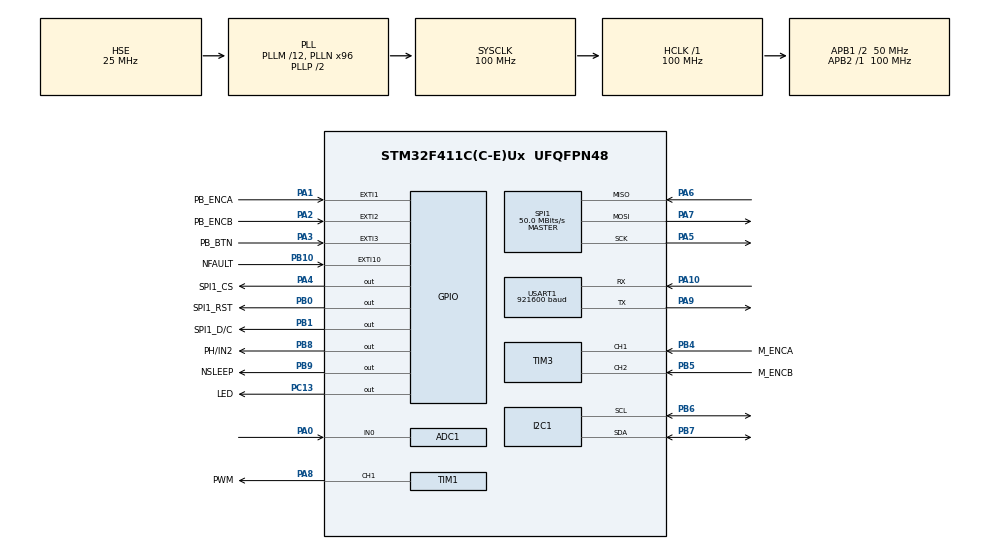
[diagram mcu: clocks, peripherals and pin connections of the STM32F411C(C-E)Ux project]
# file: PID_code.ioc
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ADC1.Channel-0\#ChannelRegularConversion=ADC_CHANNEL_0
ADC1.NbrOfConversionFlag=1
ADC1.Rank-0\#ChannelRegularConversion=1
ADC1.SamplingTime-0\#ChannelRegularConversion=ADC_SAMPLETIME_84CYCLES
ADC1.master=1
Mcu.Family=STM32F4
Mcu.Name=STM32F411C(C-E)Ux
Mcu.Package=UFQFPN48
NVIC.EXTI1_IRQn=true\:0\:0\:false\:false\:true\:true\:true\:true
NVIC.EXTI2_IRQn=true\:0\:0\:false\:false\:true\:true\:true\:true
NVIC.EXTI3_IRQn=true\:0\:0\:false\:false\:true\:true\:true\:true
NVIC.PriorityGroup=NVIC_PRIORITYGROUP_4
PA0-WKUP.Signal=ADCx_IN0
PA1.GPIO_Label=PB_ENCA
PA1.GPIO_ModeDefaultEXTI=GPIO_MODE_IT_RISING_FALLING
PA1.GPIO_PuPd=GPIO_PULLUP
PA1.Signal=GPXTI1
PA10.Mode=Asynchronous
PA10.Signal=USART1_RX
PA13.Mode=Serial_Wire
PA13.Signal=SYS_JTMS-SWDIO
PA14.Mode=Serial_Wire
PA14.Signal=SYS_JTCK-SWCLK
PA2.GPIO_Label=PB_ENCB
PA2.GPIO_ModeDefaultEXTI=GPIO_MODE_IT_RISING_FALLING
PA2.GPIO_PuPd=GPIO_PULLUP
PA2.Signal=GPXTI2
PA3.GPIO_Label=PB_BTN
PA3.GPIO_ModeDefaultEXTI=GPIO_MODE_IT_FALLING
PA3.GPIO_PuPd=GPIO_PULLUP
PA3.Signal=GPXTI3
PA4.GPIO_Label=SPI1_CS
PA4.PinState=GPIO_PIN_SET
PA4.Signal=GPIO_Output
PA5.Mode=Full_Duplex_Master
PA5.Signal=SPI1_SCK
PA6.Mode=Full_Duplex_Master
PA6.Signal=SPI1_MISO
PA7.Mode=Full_Duplex_Master
PA7.Signal=SPI1_MOSI
PA8.GPIO_Label=PWM
PA8.GPIO_Speed=GPIO_SPEED_FREQ_VERY_HIGH
PA8.Signal=S_TIM1_CH1
PA9.Mode=Asynchronous
PA9.Signal=USART1_TX
PB0.GPIO_Label=SPI1_RST
PB0.PinState=GPIO_PIN_SET
PB0.Signal=GPIO_Output
PB1.GPIO_Label=SPI1_D/C
PB1.Signal=GPIO_Output
PB10.GPIO_Label=NFAULT
PB10.GPIO_PuPd=GPIO_PULLUP
PB10.Signal=GPXTI10
PB4.GPIO_Label=M_ENCA
PB4.GPIO_PuPd=GPIO_PULLUP
PB4.Signal=S_TIM3_CH1
PB5.GPIO_Label=M_ENCB
PB5.GPIO_PuPd=GPIO_PULLUP
PB5.Signal=S_TIM3_CH2
PB6.Mode=I2C
PB6.Signal=I2C1_SCL
PB7.Mode=I2C
PB7.Signal=I2C1_SDA
PB8.GPIO_Label=PH/IN2
PB8.Signal=GPIO_Output
PB9.GPIO_Label=NSLEEP
PB9.Signal=GPIO_Output
PC13-ANTI_TAMP.GPIO_Label=LED
PC13-ANTI_TAMP.GPIO_ModeDefaultOutputPP=GPIO_MODE_OUTPUT_OD
PC13-ANTI_TAMP.GPIO_PuPd=GPIO_NOPULL
PC13-ANTI_TAMP.PinState=GPIO_PIN_SET
PC13-ANTI_TAMP.Signal=GPIO_Output
PH0\ -\ OSC_IN.Mode=HSE-External-Oscillator
PH0\ -\ OSC_IN.Signal=RCC_OSC_IN
PH1\ -\ OSC_OUT.Mode=HSE-External-Oscillator
PH1\ -\ OSC_OUT.Signal=RCC_OSC_OUT
ProjectManager.HeapSize=0x200
ProjectManager.StackSize=0x400
ProjectManager.TargetToolchain=STM32CubeIDE
RCC.48MHZClocksFreq_Value=50000000
RCC.AHBFreq_Value=100000000
RCC.APB1CLKDivider=RCC_HCLK_DIV2
RCC.APB1Freq_Value=50000000
RCC.APB1TimFreq_Value=100000000
RCC.APB2Freq_Value=100000000
RCC.APB2TimFreq_Value=100000000
RCC.CortexFreq_Value=100000000
RCC.HCLKFreq_Value=100000000
RCC.HSE_VALUE=25000000
RCC.HSI_VALUE=16000000
RCC.LSE_VALUE=32768
RCC.PLLM=12
RCC.PLLN=96
RCC.PLLSourceVirtual=RCC_PLLSOURCE_HSE
RCC.SYSCLKFreq_VALUE=100000000
RCC.SYSCLKSource=RCC_SYSCLKSOURCE_PLLCLK
RCC.VCOOutputFreq_Value=200000000
SH.ADCx_IN0.0=ADC1_IN0,IN0
SH.S_TIM1_CH1.0=TIM1_CH1,PWM Generation1 CH1
SH.S_TIM3_CH1.0=TIM3_CH1,Encoder_Interface
SH.S_TIM3_CH2.0=TIM3_CH2,Encoder_Interface
SPI1.CalculateBaudRate=50.0 MBits/s
SPI1.Direction=SPI_DIRECTION_2LINES
SPI1.Mode=SPI_MODE_MASTER
SPI1.VirtualType=VM_MASTER
TIM1.Channel-PWM\ Generation1\ CH1=TIM_CHANNEL_1
TIM1.Period=4199
TIM3.EncoderMode=TIM_ENCODERMODE_TI12
USART1.BaudRate=921600
USART1.VirtualMode=VM_ASYNC
VP_TIM1_VS_ClockSourceINT.Mode=Internal
board=custom

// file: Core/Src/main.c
/* USER CODE BEGIN Header */
/**
  ******************************************************************************
  * @file           : main.c
  * @brief          : Main program body
  ******************************************************************************
  * @attention
  *
  * Copyright (c) 2026 STMicroelectronics.
  * All rights reserved.
  *
  * This software is licensed under terms that can be found in the LICENSE file
  * in the root directory of this software component.
  * If no LICENSE file comes with this software, it is provided AS-IS.
  *
  ******************************************************************************
  */
/* USER CODE END Header */
#include "main.h"

/* USER CODE BEGIN Includes */
#include <stdio.h>
#include <stdlib.h>
#include "ssd1306.h"
#include "ssd1306_conf.h"
#include "ssd1306_fonts.h"

/* USER CODE END Includes */

/* USER CODE BEGIN PD */
// TODO: replace with your actual motor's specs
#define ENCODER_CPR          16      // counts per revolution of the motor shaft (pre-gearbox), from encoder datasheet
#define GEAR_RATIO            43.8f  // e.g. FIT0186's ratio — set to 1.0f if using the Pololu 37D instead
#define ENCODER_SAMPLE_MS    500     // matches your existing display refresh interval

/* USER CODE END PD */

ADC_HandleTypeDef hadc1;

I2C_HandleTypeDef hi2c1;

SPI_HandleTypeDef hspi1;

TIM_HandleTypeDef htim1;
TIM_HandleTypeDef htim3;

UART_HandleTypeDef huart1;

/* USER CODE BEGIN PV */
volatile int32_t encoder_count = 0;
volatile uint32_t button_press_count = 0;
volatile uint8_t last_AB_state = 0;
volatile float   motor_rpm = 0.0f;

/* USER CODE END PV */

void SystemClock_Config(void);
static void MX_GPIO_Init(void);
static void MX_USART1_UART_Init(void);
static void MX_I2C1_Init(void);
static void MX_SPI1_Init(void);
static void MX_ADC1_Init(void);
static void MX_TIM1_Init(void);
static void MX_TIM3_Init(void);

/* USER CODE BEGIN 0 */

// Send printf to uart1
int _write(int fd, char* ptr, int len) {
  HAL_StatusTypeDef hstatus;

  if (fd == 1 || fd == 2) {
    hstatus = HAL_UART_Transmit(&huart1, (uint8_t *) ptr, len, HAL_MAX_DELAY);
    if (hstatus == HAL_OK)
      return len;
    else
      return -1;
  }
  return -1;
}

/* USER CODE END 0 */

int main(void)
{

  /* MCU Configuration--------------------------------------------------------*/

  /* Reset of all peripherals, Initializes the Flash interface and the Systick. */
  HAL_Init();

  /* Configure the system clock */
  SystemClock_Config();

  /* Initialize all configured peripherals */
  MX_GPIO_Init();
  MX_USART1_UART_Init();
  MX_I2C1_Init();
  MX_SPI1_Init();
  MX_ADC1_Init();
  MX_TIM1_Init();
  MX_TIM3_Init();
  /* USER CODE BEGIN 2 */
  ssd1306_Init();
  ssd1306_Fill(Black);
  ssd1306_UpdateScreen();

  HAL_TIM_PWM_Start(&htim1, TIM_CHANNEL_1);
  HAL_TIM_Encoder_Start(&htim3, TIM_CHANNEL_ALL);

  HAL_GPIO_WritePin(PH_IN2_GPIO_Port, PH_IN2_Pin, GPIO_PIN_RESET); // forward — confirm against DRV8874 PH/EN truth table
  HAL_GPIO_WritePin(NSLEEP_GPIO_Port, NSLEEP_Pin, GPIO_PIN_SET);   // wake the driver
  /* USER CODE END 2 */

  /* Infinite loop */
  /* USER CODE BEGIN WHILE */

  uint32_t now = 0, next_blink = 500;
  uint32_t count = 0;
  char buf[16];
  int16_t last_tim3_cnt = 0;   // signed: TIM3 counter wraps as a 16-bit value in encoder mode

  #define MOTOR_MAX_RPM_NOLOAD  275   // TODO: replace with your motor's actual no-load RPM at 12V from its datasheet
  #define PWM_PERIOD             4199 // must match TIM1 ARR set in CubeMX

  while (1)
  {

	  now = uwTick;
	  int32_t current_count = encoder_count;
	  uint32_t presses = button_press_count;

	  // --- open-loop speed command from knob ---
	  int32_t target_rpm = current_count;              // already clamped 0..MOTOR_MAX_RPM
	  uint32_t duty = (uint32_t)(((float)target_rpm / (float)MOTOR_MAX_RPM_NOLOAD) * (float)PWM_PERIOD);
	  if (duty > PWM_PERIOD) duty = PWM_PERIOD;
	  __HAL_TIM_SET_COMPARE(&htim1, TIM_CHANNEL_1, duty);

	  if (now >= next_blink)
	  {
		  HAL_GPIO_TogglePin(LED_GPIO_Port, LED_Pin);
		  next_blink = now + 500;

		  // --- measured RPM from TIM3 encoder ---
		  int16_t tim3_cnt = (int16_t)__HAL_TIM_GET_COUNTER(&htim3);
		  int16_t delta_counts = tim3_cnt - last_tim3_cnt;   // relies on int16_t wraparound behaving correctly across 0/65535
		  last_tim3_cnt = tim3_cnt;

		  float counts_per_sec = (float)delta_counts * (1000.0f / (float)ENCODER_SAMPLE_MS);
		  float shaft_rps = counts_per_sec / ((float)ENCODER_CPR * 4.0f);  // x4 for TI12 quadrature decoding
		  motor_rpm = (shaft_rps * 60.0f) / GEAR_RATIO;

		  count = count + 1;
		  sprintf(buf, "%-4lu", current_count);
		  ssd1306_SetCursor(0, 0);
		  ssd1306_WriteString(buf, Font_6x8, White);

		  sprintf(buf, "%-4lu", presses);
		  ssd1306_SetCursor(0, 10);
		  ssd1306_WriteString(buf, Font_6x8, White);

		  sprintf(buf, "%d RPM", (int)motor_rpm);
		  ssd1306_SetCursor(0, 20);
		  ssd1306_WriteString(buf, Font_6x8, White);

		  ssd1306_UpdateScreen();
	  }

    /* USER CODE END WHILE */

  }
}

void SystemClock_Config(void)
{
  RCC_OscInitTypeDef RCC_OscInitStruct = {0};
  RCC_ClkInitTypeDef RCC_ClkInitStruct = {0};

  /** Configure the main internal regulator output voltage
  */
  __HAL_RCC_PWR_CLK_ENABLE();
  __HAL_PWR_VOLTAGESCALING_CONFIG(PWR_REGULATOR_VOLTAGE_SCALE1);

  /** Initializes the RCC Oscillators according to the specified parameters
  * in the RCC_OscInitTypeDef structure.
  */
  RCC_OscInitStruct.OscillatorType = RCC_OSCILLATORTYPE_HSE;
  RCC_OscInitStruct.HSEState = RCC_HSE_ON;
  RCC_OscInitStruct.PLL.PLLState = RCC_PLL_ON;
  RCC_OscInitStruct.PLL.PLLSource = RCC_PLLSOURCE_HSE;
  RCC_OscInitStruct.PLL.PLLM = 12;
  RCC_OscInitStruct.PLL.PLLN = 96;
  RCC_OscInitStruct.PLL.PLLP = RCC_PLLP_DIV2;
  RCC_OscInitStruct.PLL.PLLQ = 4;
  if (HAL_RCC_OscConfig(&RCC_OscInitStruct) != HAL_OK)
  {
    Error_Handler();
  }

  /** Initializes the CPU, AHB and APB buses clocks
  */
  RCC_ClkInitStruct.ClockType = RCC_CLOCKTYPE_HCLK|RCC_CLOCKTYPE_SYSCLK
                              |RCC_CLOCKTYPE_PCLK1|RCC_CLOCKTYPE_PCLK2;
  RCC_ClkInitStruct.SYSCLKSource = RCC_SYSCLKSOURCE_PLLCLK;
  RCC_ClkInitStruct.AHBCLKDivider = RCC_SYSCLK_DIV1;
  RCC_ClkInitStruct.APB1CLKDivider = RCC_HCLK_DIV2;
  RCC_ClkInitStruct.APB2CLKDivider = RCC_HCLK_DIV1;

  if (HAL_RCC_ClockConfig(&RCC_ClkInitStruct, FLASH_LATENCY_3) != HAL_OK)
  {
    Error_Handler();
  }
}

static void MX_ADC1_Init(void)
{

  ADC_ChannelConfTypeDef sConfig = {0};

  /** Configure the global features of the ADC (Clock, Resolution, Data Alignment and number of conversion)
  */
  hadc1.Instance = ADC1;
  hadc1.Init.ClockPrescaler = ADC_CLOCK_SYNC_PCLK_DIV4;
  hadc1.Init.Resolution = ADC_RESOLUTION_12B;
  hadc1.Init.ScanConvMode = DISABLE;
  hadc1.Init.ContinuousConvMode = DISABLE;
  hadc1.Init.DiscontinuousConvMode = DISABLE;
  hadc1.Init.ExternalTrigConvEdge = ADC_EXTERNALTRIGCONVEDGE_NONE;
  hadc1.Init.ExternalTrigConv = ADC_SOFTWARE_START;
  hadc1.Init.DataAlign = ADC_DATAALIGN_RIGHT;
  hadc1.Init.NbrOfConversion = 1;
  hadc1.Init.DMAContinuousRequests = DISABLE;
  hadc1.Init.EOCSelection = ADC_EOC_SINGLE_CONV;
  if (HAL_ADC_Init(&hadc1) != HAL_OK)
  {
    Error_Handler();
  }

  /** Configure for the selected ADC regular channel its corresponding rank in the sequencer and its sample time.
  */
  sConfig.Channel = ADC_CHANNEL_0;
  sConfig.Rank = 1;
  sConfig.SamplingTime = ADC_SAMPLETIME_84CYCLES;
  if (HAL_ADC_ConfigChannel(&hadc1, &sConfig) != HAL_OK)
  {
    Error_Handler();
  }

}

static void MX_I2C1_Init(void)
{

  hi2c1.Instance = I2C1;
  hi2c1.Init.ClockSpeed = 100000;
  hi2c1.Init.DutyCycle = I2C_DUTYCYCLE_2;
  hi2c1.Init.OwnAddress1 = 0;
  hi2c1.Init.AddressingMode = I2C_ADDRESSINGMODE_7BIT;
  hi2c1.Init.DualAddressMode = I2C_DUALADDRESS_DISABLE;
  hi2c1.Init.OwnAddress2 = 0;
  hi2c1.Init.GeneralCallMode = I2C_GENERALCALL_DISABLE;
  hi2c1.Init.NoStretchMode = I2C_NOSTRETCH_DISABLE;
  if (HAL_I2C_Init(&hi2c1) != HAL_OK)
  {
    Error_Handler();
  }

}

static void MX_SPI1_Init(void)
{

  /* SPI1 parameter configuration*/
  hspi1.Instance = SPI1;
  hspi1.Init.Mode = SPI_MODE_MASTER;
  hspi1.Init.Direction = SPI_DIRECTION_2LINES;
  hspi1.Init.DataSize = SPI_DATASIZE_8BIT;
  hspi1.Init.CLKPolarity = SPI_POLARITY_LOW;
  hspi1.Init.CLKPhase = SPI_PHASE_1EDGE;
  hspi1.Init.NSS = SPI_NSS_SOFT;
  hspi1.Init.BaudRatePrescaler = SPI_BAUDRATEPRESCALER_2;
  hspi1.Init.FirstBit = SPI_FIRSTBIT_MSB;
  hspi1.Init.TIMode = SPI_TIMODE_DISABLE;
  hspi1.Init.CRCCalculation = SPI_CRCCALCULATION_DISABLE;
  hspi1.Init.CRCPolynomial = 10;
  if (HAL_SPI_Init(&hspi1) != HAL_OK)
  {
    Error_Handler();
  }

}

static void MX_TIM1_Init(void)
{

  TIM_ClockConfigTypeDef sClockSourceConfig = {0};
  TIM_MasterConfigTypeDef sMasterConfig = {0};
  TIM_OC_InitTypeDef sConfigOC = {0};
  TIM_BreakDeadTimeConfigTypeDef sBreakDeadTimeConfig = {0};

  htim1.Instance = TIM1;
  htim1.Init.Prescaler = 0;
  htim1.Init.CounterMode = TIM_COUNTERMODE_UP;
  htim1.Init.Period = 4199;
  htim1.Init.ClockDivision = TIM_CLOCKDIVISION_DIV1;
  htim1.Init.RepetitionCounter = 0;
  htim1.Init.AutoReloadPreload = TIM_AUTORELOAD_PRELOAD_DISABLE;
  if (HAL_TIM_Base_Init(&htim1) != HAL_OK)
  {
    Error_Handler();
  }
  sClockSourceConfig.ClockSource = TIM_CLOCKSOURCE_INTERNAL;
  if (HAL_TIM_ConfigClockSource(&htim1, &sClockSourceConfig) != HAL_OK)
  {
    Error_Handler();
  }
  if (HAL_TIM_PWM_Init(&htim1) != HAL_OK)
  {
    Error_Handler();
  }
  sMasterConfig.MasterOutputTrigger = TIM_TRGO_RESET;
  sMasterConfig.MasterSlaveMode = TIM_MASTERSLAVEMODE_DISABLE;
  if (HAL_TIMEx_MasterConfigSynchronization(&htim1, &sMasterConfig) != HAL_OK)
  {
    Error_Handler();
  }
  sConfigOC.OCMode = TIM_OCMODE_PWM1;
  sConfigOC.Pulse = 0;
  sConfigOC.OCPolarity = TIM_OCPOLARITY_HIGH;
  sConfigOC.OCNPolarity = TIM_OCNPOLARITY_HIGH;
  sConfigOC.OCFastMode = TIM_OCFAST_DISABLE;
  sConfigOC.OCIdleState = TIM_OCIDLESTATE_RESET;
  sConfigOC.OCNIdleState = TIM_OCNIDLESTATE_RESET;
  if (HAL_TIM_PWM_ConfigChannel(&htim1, &sConfigOC, TIM_CHANNEL_1) != HAL_OK)
  {
    Error_Handler();
  }
  sBreakDeadTimeConfig.OffStateRunMode = TIM_OSSR_DISABLE;
  sBreakDeadTimeConfig.OffStateIDLEMode = TIM_OSSI_DISABLE;
  sBreakDeadTimeConfig.LockLevel = TIM_LOCKLEVEL_OFF;
  sBreakDeadTimeConfig.DeadTime = 0;
  sBreakDeadTimeConfig.BreakState = TIM_BREAK_DISABLE;
  sBreakDeadTimeConfig.BreakPolarity = TIM_BREAKPOLARITY_HIGH;
  sBreakDeadTimeConfig.AutomaticOutput = TIM_AUTOMATICOUTPUT_DISABLE;
  if (HAL_TIMEx_ConfigBreakDeadTime(&htim1, &sBreakDeadTimeConfig) != HAL_OK)
  {
    Error_Handler();
  }
  HAL_TIM_MspPostInit(&htim1);

}

static void MX_TIM3_Init(void)
{

  TIM_Encoder_InitTypeDef sConfig = {0};
  TIM_MasterConfigTypeDef sMasterConfig = {0};

  htim3.Instance = TIM3;
  htim3.Init.Prescaler = 0;
  htim3.Init.CounterMode = TIM_COUNTERMODE_UP;
  htim3.Init.Period = 65535;
  htim3.Init.ClockDivision = TIM_CLOCKDIVISION_DIV1;
  htim3.Init.AutoReloadPreload = TIM_AUTORELOAD_PRELOAD_DISABLE;
  sConfig.EncoderMode = TIM_ENCODERMODE_TI12;
  sConfig.IC1Polarity = TIM_ICPOLARITY_RISING;
  sConfig.IC1Selection = TIM_ICSELECTION_DIRECTTI;
  sConfig.IC1Prescaler = TIM_ICPSC_DIV1;
  sConfig.IC1Filter = 0;
  sConfig.IC2Polarity = TIM_ICPOLARITY_RISING;
  sConfig.IC2Selection = TIM_ICSELECTION_DIRECTTI;
  sConfig.IC2Prescaler = TIM_ICPSC_DIV1;
  sConfig.IC2Filter = 0;
  if (HAL_TIM_Encoder_Init(&htim3, &sConfig) != HAL_OK)
  {
    Error_Handler();
  }
  sMasterConfig.MasterOutputTrigger = TIM_TRGO_RESET;
  sMasterConfig.MasterSlaveMode = TIM_MASTERSLAVEMODE_DISABLE;
  if (HAL_TIMEx_MasterConfigSynchronization(&htim3, &sMasterConfig) != HAL_OK)
  {
    Error_Handler();
  }

}

static void MX_USART1_UART_Init(void)
{

  huart1.Instance = USART1;
  huart1.Init.BaudRate = 921600;
  huart1.Init.WordLength = UART_WORDLENGTH_8B;
  huart1.Init.StopBits = UART_STOPBITS_1;
  huart1.Init.Parity = UART_PARITY_NONE;
  huart1.Init.Mode = UART_MODE_TX_RX;
  huart1.Init.HwFlowCtl = UART_HWCONTROL_NONE;
  huart1.Init.OverSampling = UART_OVERSAMPLING_16;
  if (HAL_UART_Init(&huart1) != HAL_OK)
  {
    Error_Handler();
  }

}

static void MX_GPIO_Init(void)
{
  GPIO_InitTypeDef GPIO_InitStruct = {0};

  /* GPIO Ports Clock Enable */
  __HAL_RCC_GPIOC_CLK_ENABLE();
  __HAL_RCC_GPIOH_CLK_ENABLE();
  __HAL_RCC_GPIOA_CLK_ENABLE();
  __HAL_RCC_GPIOB_CLK_ENABLE();

  /*Configure GPIO pin Output Level */
  HAL_GPIO_WritePin(LED_GPIO_Port, LED_Pin, GPIO_PIN_SET);

  /*Configure GPIO pin Output Level */
  HAL_GPIO_WritePin(SPI1_CS_GPIO_Port, SPI1_CS_Pin, GPIO_PIN_SET);

  /*Configure GPIO pin Output Level */
  HAL_GPIO_WritePin(SPI1_RST_GPIO_Port, SPI1_RST_Pin, GPIO_PIN_SET);

  /*Configure GPIO pin Output Level */
  HAL_GPIO_WritePin(GPIOB, SPI1_D_C_Pin|PH_IN2_Pin|NSLEEP_Pin, GPIO_PIN_RESET);

  /*Configure GPIO pin : LED_Pin */
  GPIO_InitStruct.Pin = LED_Pin;
  GPIO_InitStruct.Mode = GPIO_MODE_OUTPUT_OD;
  GPIO_InitStruct.Pull = GPIO_NOPULL;
  GPIO_InitStruct.Speed = GPIO_SPEED_FREQ_LOW;
  HAL_GPIO_Init(LED_GPIO_Port, &GPIO_InitStruct);

  /*Configure GPIO pins : PB_ENCA_Pin PB_ENCB_Pin */
  GPIO_InitStruct.Pin = PB_ENCA_Pin|PB_ENCB_Pin;
  GPIO_InitStruct.Mode = GPIO_MODE_IT_RISING_FALLING;
  GPIO_InitStruct.Pull = GPIO_PULLUP;
  HAL_GPIO_Init(GPIOA, &GPIO_InitStruct);

  /*Configure GPIO pin : PB_BTN_Pin */
  GPIO_InitStruct.Pin = PB_BTN_Pin;
  GPIO_InitStruct.Mode = GPIO_MODE_IT_FALLING;
  GPIO_InitStruct.Pull = GPIO_PULLUP;
  HAL_GPIO_Init(PB_BTN_GPIO_Port, &GPIO_InitStruct);

  /*Configure GPIO pin : SPI1_CS_Pin */
  GPIO_InitStruct.Pin = SPI1_CS_Pin;
  GPIO_InitStruct.Mode = GPIO_MODE_OUTPUT_PP;
  GPIO_InitStruct.Pull = GPIO_NOPULL;
  GPIO_InitStruct.Speed = GPIO_SPEED_FREQ_LOW;
  HAL_GPIO_Init(SPI1_CS_GPIO_Port, &GPIO_InitStruct);

  /*Configure GPIO pins : SPI1_RST_Pin SPI1_D_C_Pin PH_IN2_Pin NSLEEP_Pin */
  GPIO_InitStruct.Pin = SPI1_RST_Pin|SPI1_D_C_Pin|PH_IN2_Pin|NSLEEP_Pin;
  GPIO_InitStruct.Mode = GPIO_MODE_OUTPUT_PP;
  GPIO_InitStruct.Pull = GPIO_NOPULL;
  GPIO_InitStruct.Speed = GPIO_SPEED_FREQ_LOW;
  HAL_GPIO_Init(GPIOB, &GPIO_InitStruct);

  /*Configure GPIO pin : NFAULT_Pin */
  GPIO_InitStruct.Pin = NFAULT_Pin;
  GPIO_InitStruct.Mode = GPIO_MODE_IT_RISING;
  GPIO_InitStruct.Pull = GPIO_PULLUP;
  HAL_GPIO_Init(NFAULT_GPIO_Port, &GPIO_InitStruct);

  /* EXTI interrupt init*/
  HAL_NVIC_SetPriority(EXTI1_IRQn, 0, 0);
  HAL_NVIC_EnableIRQ(EXTI1_IRQn);

  HAL_NVIC_SetPriority(EXTI2_IRQn, 0, 0);
  HAL_NVIC_EnableIRQ(EXTI2_IRQn);

  HAL_NVIC_SetPriority(EXTI3_IRQn, 0, 0);
  HAL_NVIC_EnableIRQ(EXTI3_IRQn);

}

/* USER CODE BEGIN 4 */
// Lookup table for quadrature decoding based on state transitions
static const int8_t qem_table[16] = {
     0, -1,  1,  0,
     1,  0,  0, -1,
    -1,  0,  0,  1,
     0,  1, -1,  0
};

static int8_t encoder_seq = 0;      // accumulates sub-steps within one detent (x4 -> x1)
static int8_t detent_accum = 0;     // accumulates detents until threshold reached
#define COUNTS_PER_INCREMENT 2
#define MOTOR_MAX_RPM 270   // knob-commanded ceiling

void HAL_GPIO_EXTI_Callback(uint16_t GPIO_Pin)
{
    if (GPIO_Pin == PB_ENCA_Pin || GPIO_Pin == PB_ENCB_Pin)
    {
        uint8_t a = HAL_GPIO_ReadPin(GPIOA, PB_ENCA_Pin);
        uint8_t b = HAL_GPIO_ReadPin(GPIOA, PB_ENCB_Pin);
        uint8_t curr_AB = (a << 1) | b;
        uint8_t index = (last_AB_state << 2) | curr_AB;
        int8_t delta = qem_table[index & 0x0F];
        if (delta != 0)
        {
            encoder_seq += delta;
            if (encoder_seq >= 4)          // one full CW detent
            {
                encoder_seq = 0;
                detent_accum++;
            }
            else if (encoder_seq <= -4)    // one full CCW detent
            {
                encoder_seq = 0;
                detent_accum--;
            }
            if (detent_accum >= COUNTS_PER_INCREMENT)
            {
                detent_accum = 0;
                if (encoder_count < MOTOR_MAX_RPM) encoder_count++;
            }
            else if (detent_accum <= -COUNTS_PER_INCREMENT)
            {
                detent_accum = 0;
                if (encoder_count > 0) encoder_count--;
            }
        }
        last_AB_state = curr_AB;
    }
    else if (GPIO_Pin == PB_BTN_Pin)
    {
        static uint32_t last_press_tick = 0;
        uint32_t now = HAL_GetTick();
        if (HAL_GPIO_ReadPin(GPIOA, PB_BTN_Pin) == GPIO_PIN_RESET)
        {
            if ((now - last_press_tick) > 50)
            {
                button_press_count++;
                last_press_tick = now;
            }
        }
    }
}

/* USER CODE END 4 */

void Error_Handler(void)
{
  __disable_irq();
  while (1)
  {
  }
}
